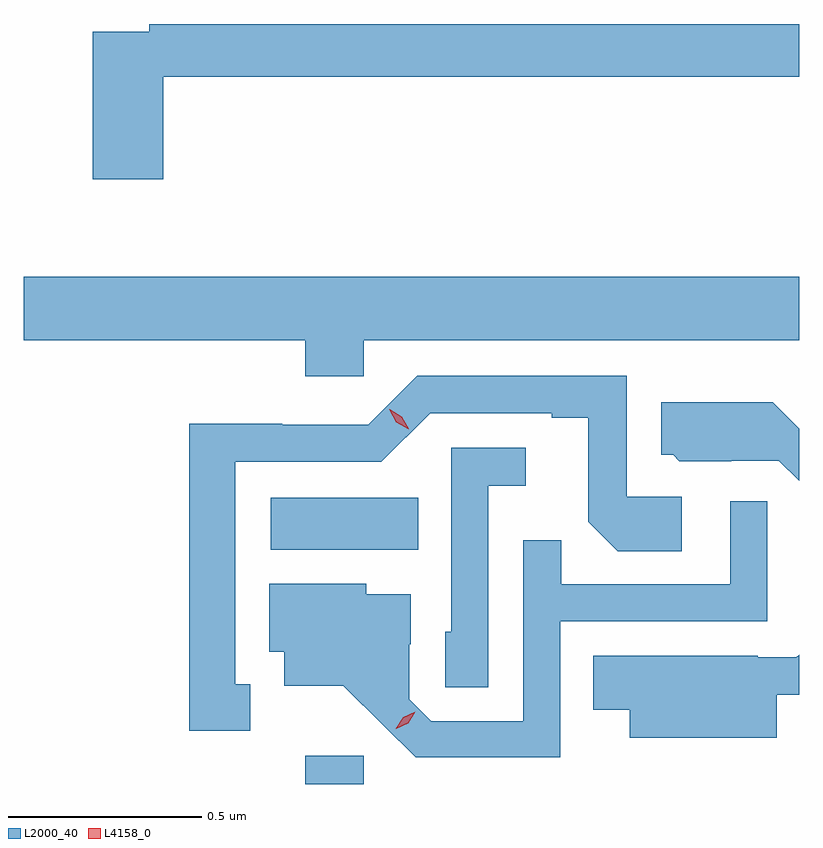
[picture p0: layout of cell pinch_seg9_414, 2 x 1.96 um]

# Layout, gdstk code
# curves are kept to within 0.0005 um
import gdstk
lib = gdstk.Library(unit=1e-6, precision=1e-09)
def R(c, l, rs):  # rectangles x0, y0, x1, y1
    for r in rs: c.add(gdstk.rectangle(r[:2], r[2:], *l))
def P(c, l, *ps):  # polygons
    for p in ps: c.add(gdstk.Polygon(p, *l))
L2000_40 = (2000, 40)
L4158_0 = (4158, 0)

pinch_seg9_414 = lib.new_cell('pinch_seg9_414')
R(pinch_seg9_414, L2000_40, [(335.045,1239.231,335.196,1239.304), (334.956,1239.836,335.336,1239.97)])
P(pinch_seg9_414, L2000_40, [(334.679,1241.056),(336.319,1241.056),(336.319,1241.192),(334.642,1241.192),(334.642,1241.172),(334.496,1241.172),(334.496,1240.791),(334.679,1240.791)],
  [(335.196,1240.376),(336.319,1240.376),(336.319,1240.54),(334.319,1240.54),(334.319,1240.376),(335.045,1240.376),(335.045,1240.283),(335.196,1240.283)],
  [(334.903,1239.489),(334.864,1239.489),(334.864,1240.062),(335.241,1240.062),(335.367,1240.188),(335.681,1240.188),(335.681,1240.176),(335.775,1240.176),(335.775,1239.908),(335.851,1239.832),(336.016,1239.832),(336.016,1239.972),(335.874,1239.972),(335.874,1240.284),(335.334,1240.284),(335.208,1240.158),(334.986,1240.158),(334.986,1240.16),(334.746,1240.16),(334.746,1239.369),(334.903,1239.369)],
  [(336.319,1240.147),(336.251,1240.216),(335.963,1240.216),(335.963,1240.08),(335.994,1240.08),(336.01,1240.064),(336.144,1240.064),(336.144,1240.065),(336.267,1240.065),(336.319,1240.013)],
  [(335.517,1240.001),(335.614,1240.001),(335.614,1240.098),(335.421,1240.098),(335.421,1239.624),(335.406,1239.624),(335.406,1239.481),(335.517,1239.481)],
  [(335.703,1239.651),(336.237,1239.651),(336.237,1239.961),(336.141,1239.961),(336.141,1239.747),(335.705,1239.747),(335.705,1239.86),(335.607,1239.86),(335.607,1239.393),(335.37,1239.393),(335.313,1239.45),(335.313,1239.592),(335.317,1239.592),(335.317,1239.721),(335.202,1239.721),(335.202,1239.748),(334.952,1239.748),(334.952,1239.572),(334.991,1239.572),(334.991,1239.485),(335.143,1239.485),(335.33,1239.3),(335.703,1239.3)],
  [(336.262,1239.461),(336.319,1239.461),(336.319,1239.565),(336.312,1239.558),(336.212,1239.558),(336.212,1239.562),(335.788,1239.562),(335.788,1239.422),(335.882,1239.422),(335.882,1239.35),(336.262,1239.35)])
P(pinch_seg9_414, L4158_0, [(335.279,1239.374),(335.279,1239.374),(335.298,1239.403),(335.329,1239.418),(335.329,1239.418),(335.329,1239.418),(335.311,1239.388),(335.28,1239.374)],
  [(335.312,1240.146),(335.28,1240.165),(335.262,1240.198),(335.262,1240.198),(335.263,1240.198),(335.294,1240.179),(335.312,1240.147),(335.312,1240.146)])

lib.write_gds('pinch_seg9_414.gds')
